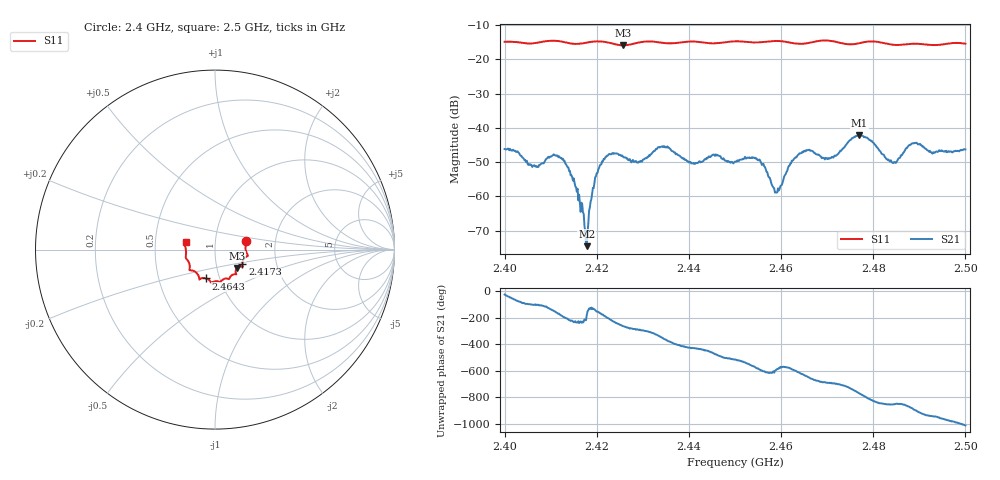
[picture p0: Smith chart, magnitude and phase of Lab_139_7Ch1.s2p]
# Hz S RI R 50
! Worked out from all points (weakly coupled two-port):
!   601 points, 2.4 GHz to 2.5 GHz, reference 50 ohm
!   highest |S21| = -42.25 dB at 2.477 GHz (marker M1); lowest = -74.6 dB at 2.4178 GHz (marker M2)
!   lowest |S11| = -15.9 dB at 2.4257 GHz (marker M3), VSWR 1.38, Z = 62.4 - j13.1 ohm
!   |S11| at or under -10 dB: start of sweep to end of sweep
!   S12 and S22 are empty: the file has one direction only
!   S11 on the Smith chart (normalised r, x): 2.4 GHz: 1.41, +0.15; 2.4173 GHz: 1.34, -0.23; 2.4643 GHz: 0.86, -0.28; 2.5 GHz: 0.72, +0.06
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2.4e9  0.1733 0.0498  0.00448 -0.00196  0 0  0 0
2.4065e9  0.1718 -0.00517  -0.000501 -0.00279  0 0  0 0
2.412333e9  0.1779 -0.0375  -0.00363 0.00016  0 0  0 0
2.416667e9  0.1527 -0.0744  -0.000447 0.000671  0 0  0 0
2.417333e9  0.1523 -0.0819  -0.000316 0.000193  0 0  0 0
2.417833e9  0.1524 -0.0868  -0.000187 -4.19e-06  0 0  0 0
2.4195e9  0.1543 -0.0963  -0.00112 -0.00111  0 0  0 0
2.420833e9  0.1544 -0.0964  -0.0028 -0.000724  0 0  0 0
2.425667e9  0.1225 -0.1025  -0.000541 0.00379  0 0  0 0
2.429333e9  0.1166 -0.1332  0.00099 0.00301  0 0  0 0
2.433333e9  0.1127 -0.1367  0.00465 0.00238  0 0  0 0
2.441e9  0.0782 -0.1641  0.00112 -0.00277  0 0  0 0
2.45e9  0.0295 -0.1807  -0.00287 -0.00144  0 0  0 0
2.455e9  0.00177 -0.1767  -0.00252 0.00221  0 0  0 0
2.459167e9  -0.0219 -0.1842  -0.000795 0.000817  0 0  0 0
2.464333e9  -0.0501 -0.1605  -0.000688 0.00419  0 0  0 0
2.466667e9  -0.0761 -0.1599  0.00228 0.00402  0 0  0 0
2.470833e9  -0.087 -0.1638  0.00312 0.00184  0 0  0 0
2.477e9  -0.1268 -0.1166  0.00499 -0.00589  0 0  0 0
2.483333e9  -0.1406 -0.0896  -0.00235 -0.00252  0 0  0 0
2.488833e9  -0.1623 -0.0472  -0.00595 -0.000774  0 0  0 0
2.5e9  -0.1631 0.042  0.00178 0.0045  0 0  0 0
